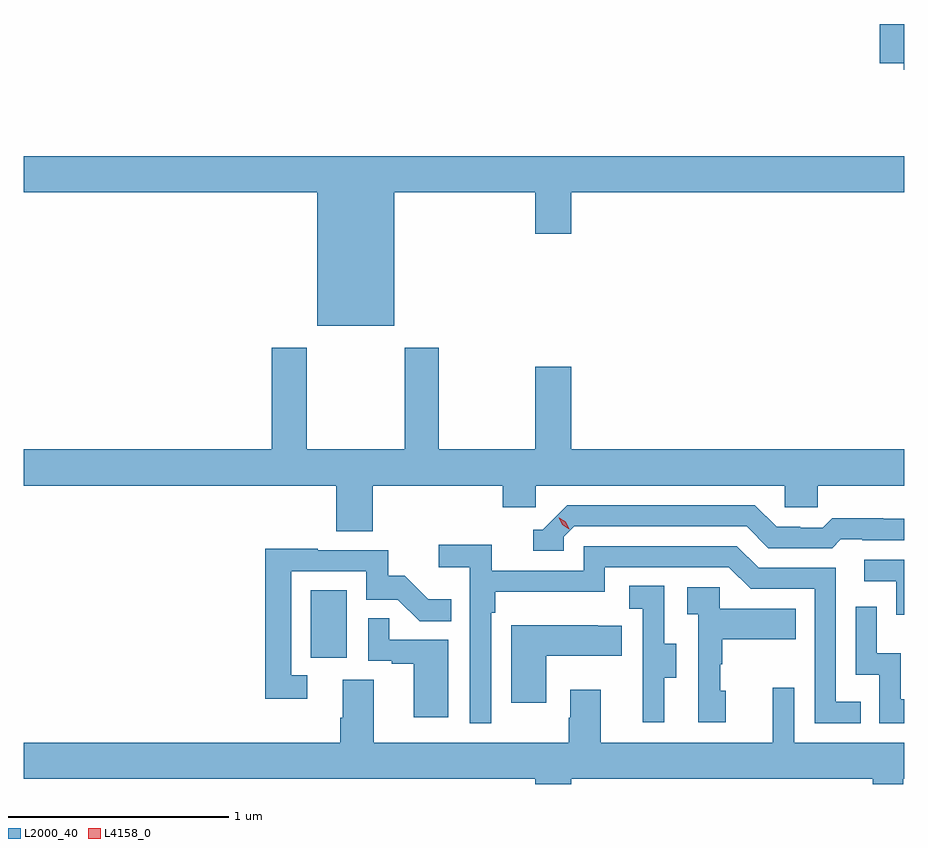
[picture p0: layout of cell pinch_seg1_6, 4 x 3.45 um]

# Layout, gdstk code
import gdstk
lib = gdstk.Library(unit=1e-6, precision=1e-09)
def R(c, l, rs):  # rectangles x0, y0, x1, y1
    for r in rs: c.add(gdstk.rectangle(r[:2], r[2:], *l))
def P(c, l, *ps):  # polygons
    for p in ps: c.add(gdstk.Polygon(p, *l))
L2000_40 = (2000, 40)
L4158_0 = (4158, 0)

pinch_seg1_6 = lib.new_cell('pinch_seg1_6')
R(pinch_seg1_6, L2000_40, [(1099.052,577.59,1099.216,577.897)])
P(pinch_seg1_6, L2000_40, [(1101.749,580.469),(1101.639,580.469),(1101.639,580.291),(1101.746,580.291),(1101.746,580.262),(1101.749,580.262)],
  [(1099.432,579.704),(1100.072,579.704),(1100.072,579.516),(1100.236,579.516),(1100.236,579.704),(1101.749,579.704),(1101.749,579.868),(1097.749,579.868),(1097.749,579.704),(1099.082,579.704),(1099.082,579.098),(1099.432,579.098)],
  [(1099.334,578.372),(1099.925,578.372),(1099.925,578.274),(1100.076,578.274),(1100.076,578.372),(1101.207,578.372),(1101.207,578.274),(1101.357,578.274),(1101.357,578.372),(1101.749,578.372),(1101.749,578.536),(1100.236,578.536),(1100.236,578.911),(1100.072,578.911),(1100.072,578.536),(1099.635,578.536),(1099.635,578.998),(1099.48,578.998),(1099.48,578.536),(1099.035,578.536),(1099.035,578.998),(1098.875,578.998),(1098.875,578.536),(1097.749,578.536),(1097.749,578.372),(1099.169,578.372),(1099.169,578.164),(1099.334,578.164)],
  [(1100.202,578.139),(1100.25,578.187),(1101.033,578.187),(1101.132,578.088),(1101.421,578.088),(1101.46,578.127),(1101.559,578.127),(1101.559,578.124),(1101.749,578.124),(1101.749,578.221),(1101.654,578.221),(1101.654,578.224),(1101.421,578.224),(1101.379,578.181),(1101.276,578.181),(1101.276,578.184),(1101.169,578.184),(1101.07,578.283),(1100.217,578.283),(1100.106,578.172),(1100.063,578.172),(1100.063,578.076),(1100.202,578.076)],
  [(1099.872,577.793),(1099.892,577.793),(1099.892,577.889),(1100.388,577.889),(1100.388,578.001),(1100.952,578.001),(1101.051,577.902),(1101.342,577.902),(1101.342,577.293),(1101.551,577.293),(1101.551,577.389),(1101.438,577.389),(1101.438,577.998),(1101.088,577.998),(1100.989,578.097),(1100.292,578.097),(1100.292,577.986),(1099.874,577.986),(1099.874,578.102),(1099.635,578.102),(1099.635,578),(1099.776,578),(1099.776,577.293),(1099.872,577.293)],
  [(1099.036,577.509),(1098.963,577.509),(1098.963,577.983),(1099.305,577.983),(1099.305,577.854),(1099.449,577.854),(1099.547,577.756),(1099.691,577.756),(1099.691,577.855),(1099.587,577.855),(1099.48,577.962),(1099.404,577.962),(1099.404,578.079),(1099.085,578.079),(1099.085,578.084),(1098.847,578.084),(1098.847,577.404),(1099.036,577.404)],
  [(1101.749,578.034),(1101.567,578.034),(1101.567,577.938),(1101.714,577.938),(1101.714,577.785),(1101.749,577.785)],
  [(1100.659,577.498),(1100.713,577.498),(1100.713,577.653),(1100.658,577.653),(1100.658,577.916),(1100.499,577.916),(1100.499,577.813),(1100.562,577.813),(1100.562,577.509),(1100.561,577.509),(1100.561,577.296),(1100.659,577.296)],
  [(1100.938,577.44),(1100.913,577.44),(1100.913,577.559),(1100.923,577.559),(1100.923,577.673),(1101.257,577.673),(1101.257,577.813),(1100.91,577.813),(1100.91,577.911),(1100.763,577.911),(1100.763,577.787),(1100.814,577.787),(1100.814,577.296),(1100.938,577.296)],
  [(1101.749,577.402),(1101.734,577.402),(1101.734,577.61),(1101.624,577.61),(1101.624,577.822),(1101.528,577.822),(1101.528,577.512),(1101.636,577.512),(1101.636,577.293),(1101.749,577.293)],
  [(1099.678,577.671),(1099.409,577.671),(1099.409,577.769),(1099.314,577.769),(1099.314,577.575),(1099.421,577.575),(1099.421,577.563),(1099.52,577.563),(1099.52,577.32),(1099.678,577.32)],
  [(1100.122,577.598),(1100.465,577.598),(1100.465,577.735),(1100.357,577.735),(1100.357,577.738),(1099.964,577.738),(1099.964,577.386),(1100.122,577.386)],
  [(1100.236,577.04),(1101.605,577.04),(1101.605,577.016),(1101.745,577.016),(1101.745,577.04),(1101.749,577.04),(1101.749,577.204),(1101.249,577.204),(1101.249,577.453),(1101.152,577.453),(1101.152,577.204),(1100.371,577.204),(1100.371,577.444),(1100.231,577.444),(1100.231,577.316),(1100.224,577.316),(1100.224,577.204),(1099.339,577.204),(1099.339,577.49),(1099.199,577.49),(1099.199,577.316),(1099.187,577.316),(1099.187,577.204),(1097.749,577.204),(1097.749,577.04),(1100.072,577.04),(1100.072,577.016),(1100.236,577.016)])
P(pinch_seg1_6, L4158_0, [(1100.227,578.174),(1100.196,578.194),(1100.18,578.226),(1100.18,578.226),(1100.181,578.226),(1100.211,578.207),(1100.227,578.175),(1100.227,578.174)])

lib.write_gds('pinch_seg1_6.gds')
